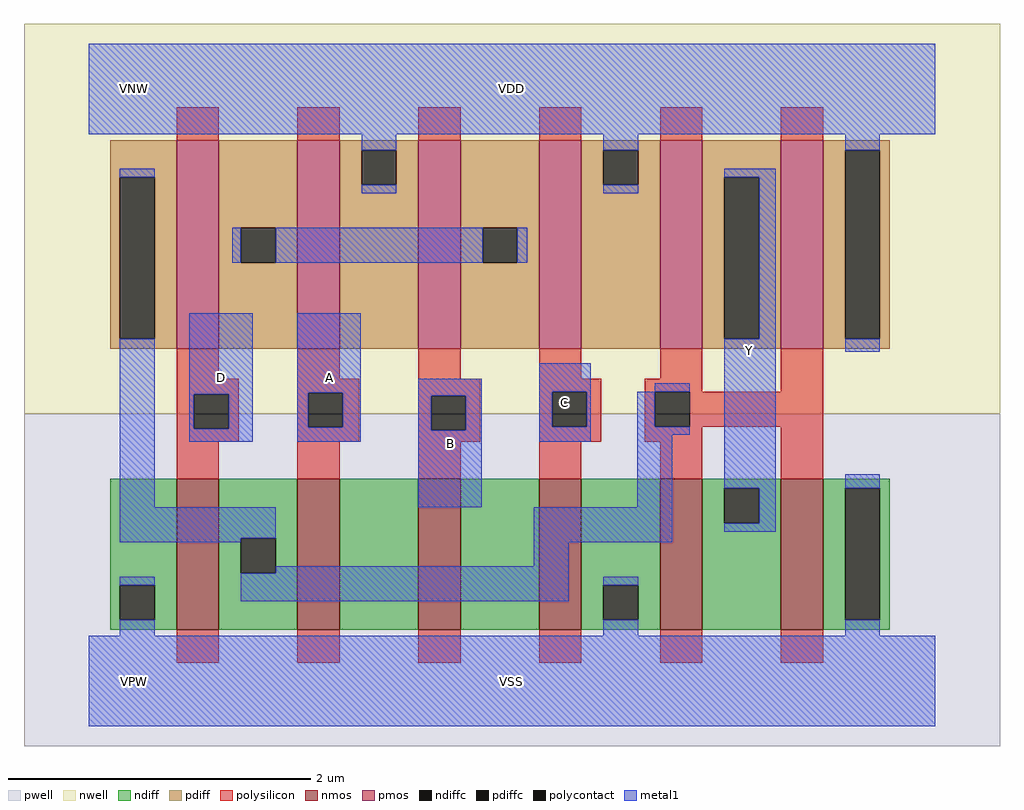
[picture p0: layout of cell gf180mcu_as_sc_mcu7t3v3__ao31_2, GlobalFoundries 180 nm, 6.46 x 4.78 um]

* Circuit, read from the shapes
.subckt gf180mcu_as_sc_mcu7t3v3__ao31_2 VDD VNW VPW VSS D A B C Y
XM1 n1 D VSS VPW nfet_03v3 w=1u l=0.28u
XM2 n2 A n1 VPW nfet_03v3 w=1u l=0.28u
XM3 n3 B n2 VPW nfet_03v3 w=1u l=0.28u
XM4 VSS C n3 VPW nfet_03v3 w=1u l=0.28u
XM5 Y n1 VSS VPW nfet_03v3 w=1u l=0.28u m=2
XM6 n4 D n1 VNW pfet_03v3 w=1.38u l=0.28u
XM7 VDD A n4 VNW pfet_03v3 w=1.38u l=0.28u
XM8 n4 B VDD VNW pfet_03v3 w=1.38u l=0.28u
XM9 VDD C n4 VNW pfet_03v3 w=1.38u l=0.28u
XM10 Y n1 VDD VNW pfet_03v3 w=1.38u l=0.28u m=2
.ends

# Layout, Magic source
magic
tech gf180mcuD
magscale 1 10
<< nwell >>
rect -86 354 1206 870
<< pwell >>
rect -86 -86 1206 354
<< nmos >>
rect 116 68 172 268
rect 276 68 332 268
rect 436 68 492 268
rect 596 68 652 268
rect 756 68 812 268
rect 916 68 972 268
<< pmos >>
rect 116 440 172 716
rect 276 440 332 716
rect 436 440 492 716
rect 596 440 652 716
rect 756 440 812 716
rect 916 440 972 716
<< ndiff >>
rect 28 127 116 268
rect 28 81 41 127
rect 87 81 116 127
rect 28 68 116 81
rect 172 189 276 268
rect 172 143 201 189
rect 247 143 276 189
rect 172 68 276 143
rect 332 68 436 268
rect 492 68 596 268
rect 652 127 756 268
rect 652 81 681 127
rect 727 81 756 127
rect 652 68 756 81
rect 812 255 916 268
rect 812 209 841 255
rect 887 209 916 255
rect 812 68 916 209
rect 972 255 1060 268
rect 972 81 1001 255
rect 1047 81 1060 255
rect 972 68 1060 81
<< pdiff >>
rect 28 667 116 716
rect 28 453 41 667
rect 87 453 116 667
rect 28 440 116 453
rect 172 600 276 716
rect 172 554 201 600
rect 247 554 276 600
rect 172 440 276 554
rect 332 703 436 716
rect 332 657 361 703
rect 407 657 436 703
rect 332 440 436 657
rect 492 600 596 716
rect 492 554 521 600
rect 567 554 596 600
rect 492 440 596 554
rect 652 703 756 716
rect 652 657 681 703
rect 727 657 756 703
rect 652 440 756 657
rect 812 667 916 716
rect 812 453 841 667
rect 887 453 916 667
rect 812 440 916 453
rect 972 703 1060 716
rect 972 453 1001 703
rect 1047 453 1060 703
rect 972 440 1060 453
<< ndiffc >>
rect 41 81 87 127
rect 201 143 247 189
rect 681 81 727 127
rect 841 209 887 255
rect 1001 81 1047 255
<< pdiffc >>
rect 41 453 87 667
rect 201 554 247 600
rect 361 657 407 703
rect 521 554 567 600
rect 681 657 727 703
rect 841 453 887 667
rect 1001 453 1047 703
<< polysilicon >>
rect 116 716 172 760
rect 276 716 332 760
rect 436 716 492 760
rect 596 716 652 760
rect 756 716 812 760
rect 916 716 972 760
rect 116 400 172 440
rect 276 400 332 440
rect 436 400 492 440
rect 596 400 652 440
rect 756 400 812 440
rect 116 380 198 400
rect 116 334 139 380
rect 185 334 198 380
rect 116 317 198 334
rect 276 382 358 400
rect 276 336 290 382
rect 336 336 358 382
rect 276 317 358 336
rect 436 378 518 400
rect 436 332 453 378
rect 499 332 518 378
rect 436 317 518 332
rect 596 383 678 400
rect 596 337 613 383
rect 659 337 678 383
rect 596 317 678 337
rect 736 383 812 400
rect 916 383 972 440
rect 736 337 749 383
rect 795 337 972 383
rect 736 317 812 337
rect 116 268 172 317
rect 276 268 332 317
rect 436 268 492 317
rect 596 268 652 317
rect 756 268 812 317
rect 916 268 972 337
rect 116 24 172 68
rect 276 24 332 68
rect 436 24 492 68
rect 596 24 652 68
rect 756 24 812 68
rect 916 24 972 68
<< polycontact >>
rect 139 334 185 380
rect 290 336 336 382
rect 453 332 499 378
rect 613 337 659 383
rect 749 337 795 383
<< metal1 >>
rect 0 724 1120 844
rect 361 703 407 724
rect 41 667 87 678
rect 361 646 407 657
rect 681 703 727 724
rect 1001 703 1047 724
rect 681 646 727 657
rect 841 667 909 678
rect 190 554 201 600
rect 247 554 521 600
rect 567 554 580 600
rect 41 230 87 453
rect 133 380 217 487
rect 133 334 139 380
rect 185 334 217 380
rect 133 317 217 334
rect 276 382 360 487
rect 887 453 909 667
rect 276 336 290 382
rect 336 336 360 382
rect 276 317 360 336
rect 436 378 520 400
rect 436 332 453 378
rect 499 332 520 378
rect 436 230 520 332
rect 596 383 664 421
rect 749 383 795 394
rect 596 337 613 383
rect 659 337 664 383
rect 596 317 664 337
rect 726 337 749 383
rect 726 326 795 337
rect 726 230 772 326
rect 41 189 247 230
rect 41 184 201 189
rect 589 184 772 230
rect 841 255 909 453
rect 1001 436 1047 453
rect 887 209 909 255
rect 841 198 909 209
rect 1001 255 1047 274
rect 589 152 635 184
rect 247 143 635 152
rect 41 127 87 138
rect 201 106 635 143
rect 681 127 727 138
rect 41 60 87 81
rect 681 60 727 81
rect 1001 60 1047 81
rect 0 -60 1120 60
<< labels >>
flabel metal1 s 0 724 1120 844 0 FreeSans 400 0 0 0 VDD
port 1 nsew power bidirectional abutment
flabel metal1 s 0 -60 1120 60 0 FreeSans 400 0 0 0 VSS
port 4 nsew ground bidirectional abutment
flabel nwell s 10 734 110 834 0 FreeSans 400 0 0 0 VNW
port 2 nsew power bidirectional
flabel pwell s 10 -50 110 50 0 FreeSans 400 0 0 0 VPW
port 3 nsew ground bidirectional
flabel metal1 133 317 217 487 0 FreeSans 200 0 0 0 D
port 5 nsew signal input
flabel metal1 276 317 360 487 0 FreeSans 200 0 0 0 A
port 6 nsew signal input
flabel metal1 436 230 520 400 0 FreeSans 200 0 0 0 B
port 7 nsew signal input
flabel metal1 596 317 664 421 0 FreeSans 200 0 0 0 C
port 8 nsew signal input
flabel metal1 841 198 909 678 0 FreeSans 200 0 0 0 Y
port 9 nsew signal output
<< properties >>
string FIXED_BBOX 0 0 1120 784
string LEFclass CORE
string LEFsite unithd
string LEFsymmetry X Y
string MASKHINTS_NPLUS -16 -46 1136 354
string MASKHINTS_PPLUS -16 354 1136 830
<< end >>
